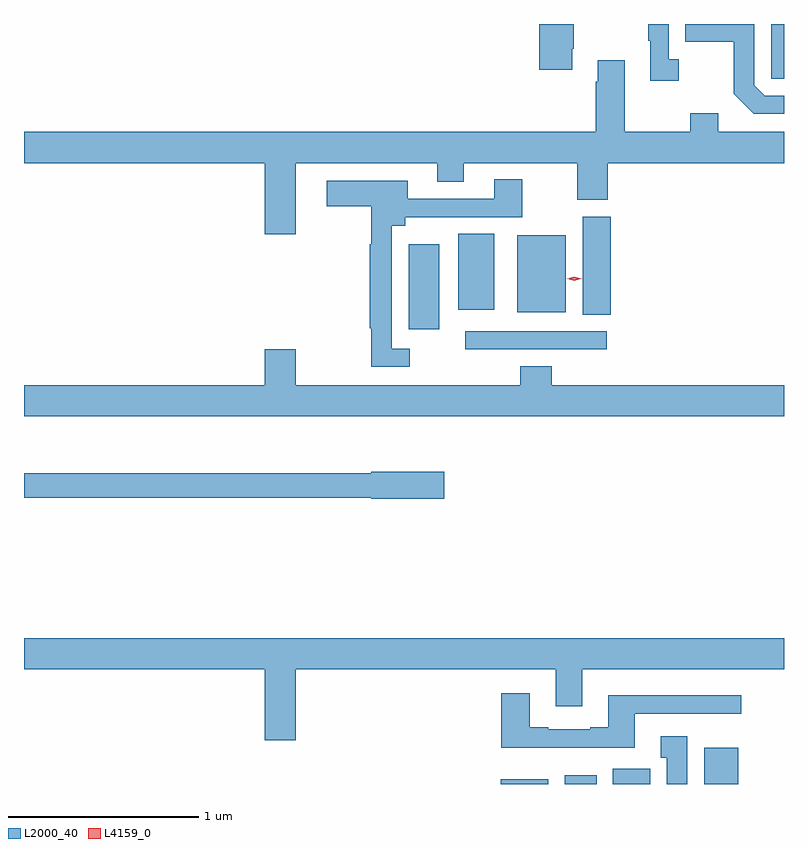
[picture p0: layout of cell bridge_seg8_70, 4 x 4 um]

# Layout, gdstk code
import gdstk
lib = gdstk.Library(unit=1e-6, precision=1e-09)
def R(c, l, rs):  # rectangles x0, y0, x1, y1
    for r in rs: c.add(gdstk.rectangle(r[:2], r[2:], *l))
def P(c, l, *ps):  # polygons
    for p in ps: c.add(gdstk.Polygon(p, *l))
L2000_40 = (2000, 40)
L4159_0 = (4159, 0)

bridge_seg8_70 = lib.new_cell('bridge_seg8_70')
R(bridge_seg8_70, L2000_40, [(921.494,1094.584,921.745,1094.608), (921.833,1094.584,922,1094.629), (922.085,1094.584,922.281,1094.665), (922.565,1094.584,922.744,1094.776), (921.309,1096.872,922.054,1096.968), (921.011,1096.977,921.172,1097.425), (921.926,1097.053,922.073,1097.569), (921.581,1097.066,921.838,1097.473), (921.272,1097.081,921.46,1097.479), (922.92,1098.297,922.986,1098.584)])
P(bridge_seg8_70, L2000_40, [(921.871,1098.454),(921.879,1098.454),(921.879,1098.584),(921.698,1098.584),(921.698,1098.342),(921.871,1098.342)],
  [(922.986,1098.207),(922.884,1098.207),(922.83,1098.261),(922.83,1098.584),(922.465,1098.584),(922.465,1098.49),(922.722,1098.49),(922.722,1098.217),(922.827,1098.111),(922.986,1098.111)],
  [(922.432,1098.398),(922.38,1098.398),(922.38,1098.584),(922.272,1098.584),(922.272,1098.497),(922.283,1098.497),(922.283,1098.285),(922.432,1098.285)],
  [(920.416,1097.852),(921.161,1097.852),(921.161,1097.753),(921.301,1097.753),(921.301,1097.852),(921.898,1097.852),(921.898,1097.658),(922.058,1097.658),(922.058,1097.852),(922.986,1097.852),(922.986,1098.016),(922.639,1098.016),(922.639,1098.115),(922.492,1098.115),(922.492,1098.016),(922.147,1098.016),(922.147,1098.394),(922.007,1098.394),(922.007,1098.281),(921.995,1098.281),(921.995,1098.016),(918.986,1098.016),(918.986,1097.852),(920.252,1097.852),(920.252,1097.478),(920.416,1097.478)],
  [(921.016,1096.875),(920.922,1096.875),(920.922,1097.522),(920.992,1097.522),(920.992,1097.568),(921.609,1097.568),(921.609,1097.767),(921.461,1097.767),(921.461,1097.664),(921.007,1097.664),(921.007,1097.758),(920.58,1097.758),(920.58,1097.624),(920.814,1097.624),(920.814,1097.426),(920.806,1097.426),(920.806,1096.982),(920.814,1096.982),(920.814,1096.779),(921.016,1096.779)],
  [(922.986,1096.684),(921.764,1096.684),(921.764,1096.783),(921.599,1096.783),(921.599,1096.684),(920.416,1096.684),(920.416,1096.873),(920.252,1096.873),(920.252,1096.684),(918.986,1096.684),(918.986,1096.52),(922.986,1096.52)],
  [(921.199,1096.227),(920.814,1096.227),(920.814,1096.219),(918.986,1096.219),(918.986,1096.09),(920.814,1096.09),(920.814,1096.085),(921.199,1096.085)],
  [(920.416,1095.188),(921.785,1095.188),(921.785,1094.994),(921.925,1094.994),(921.925,1095.188),(922.986,1095.188),(922.986,1095.352),(918.986,1095.352),(918.986,1095.188),(920.252,1095.188),(920.252,1094.814),(920.416,1094.814)],
  [(922.201,1094.955),(922.762,1094.955),(922.762,1095.052),(922.061,1095.052),(922.061,1094.884),(921.965,1094.884),(921.965,1094.871),(921.745,1094.871),(921.745,1094.884),(921.649,1094.884),(921.649,1095.061),(921.497,1095.061),(921.497,1094.774),(922.201,1094.774)],
  [(922.477,1094.836),(922.337,1094.836),(922.337,1094.723),(922.37,1094.723),(922.37,1094.584),(922.477,1094.584)])
P(bridge_seg8_70, L4159_0, [(921.883,1097.234),(921.845,1097.243),(921.845,1097.244),(921.845,1097.244),(921.883,1097.254),(921.92,1097.244),(921.921,1097.244),(921.92,1097.243)])

lib.write_gds('bridge_seg8_70.gds')
